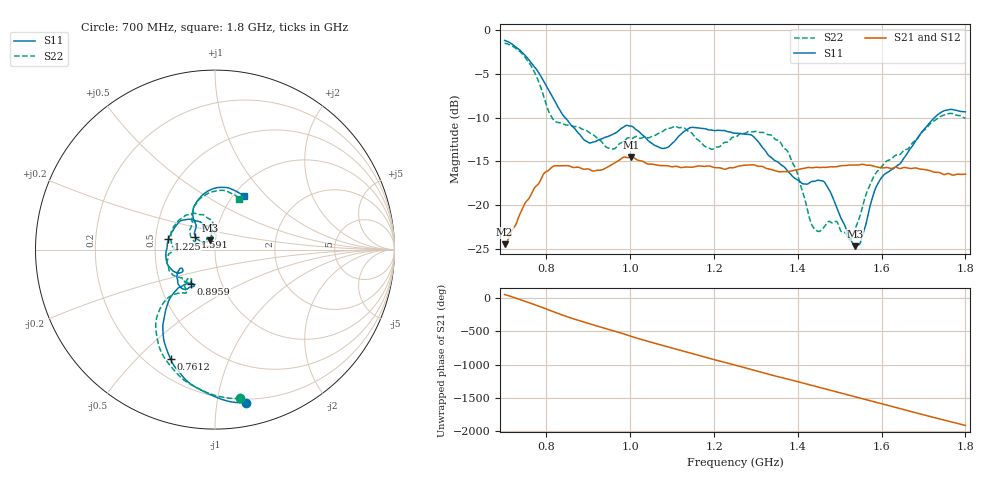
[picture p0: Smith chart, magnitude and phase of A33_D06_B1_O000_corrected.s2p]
! Created with skrf 1.9.0 (http://scikit-rf.org).
# Hz S RI R 50.0
!freq ReS11 ImS11 ReS21 ImS21 ReS12 ImS12 ReS22 ImS22
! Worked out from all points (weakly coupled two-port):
!   1601 points, 700 MHz to 1.8 GHz, reference 50 ohm
!   highest |S21| = -14.50 dB at 1.002 GHz (marker M1); lowest = -24.5 dB at 700 MHz (marker M2)
!   lowest |S11| = -24.7 dB at 1.536 GHz (marker M3), VSWR 1.12, Z = 47.2 + j4.9 ohm
!   |S11| at or under -10 dB: 844.1 MHz to 1.727 GHz (882.4 MHz wide, 68.7 % of centre)
!   |S22| runs from -24.0 to -1.5 dB; largest |S21 - S12| = 0.0035
!   S11 on the Smith chart (normalised r, x): 700 MHz: 0.17, -1.21; 761.2 MHz: 0.29, -0.63; 895.9 MHz: 0.72, -0.29; 1.225 GHz: 0.58, +0.07; 1.591 GHz: 0.79, +0.12; 1.8 GHz: 1.12, +0.76
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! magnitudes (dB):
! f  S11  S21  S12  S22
! 700 MHz  -1.2  -24.5  -24.3  -1.5
! 761.2 MHz  -3.6  -19.0  -18.9  -3.9
! 816.2 MHz  -7.8  -15.6  -15.7  -10.2
! 883.6 MHz  -12.2  -15.8  -15.7  -11.3
! 895.9 MHz  -12.7  -15.9  -16.0  -11.5
! 955.1 MHz  -12.0  -15.4  -15.4  -13.6
! 1.002 GHz  -11.0  -14.5  -14.6  -12.4
! 1.067 GHz  -13.4  -15.5  -15.4  -11.8
! 1.145 GHz  -11.1  -15.7  -15.7  -11.7
! 1.192 GHz  -11.4  -15.6  -15.6  -13.6
! 1.225 GHz  -11.5  -15.9  -15.9  -12.9
! 1.25 GHz  -11.8  -15.7  -15.6  -12.2
! 1.357 GHz  -15.3  -16.2  -16.1  -12.8
! 1.396 GHz  -17.0  -16.0  -16.0  -15.9
! 1.434 GHz  -17.3  -15.7  -15.7  -22.3
! 1.467 GHz  -17.6  -15.7  -15.7  -22.2
! 1.536 GHz  -24.7  -15.4  -15.4  -22.8
! 1.551 GHz  -24.0  -15.4  -15.4  -20.8
! 1.591 GHz  -17.6  -15.7  -15.7  -16.1
! 1.617 GHz  -16.2  -15.8  -15.7  -14.9
! 1.735 GHz  -9.6  -16.3  -16.3  -10.1
! 1.8 GHz  -9.4  -16.5  -16.5  -10.1
